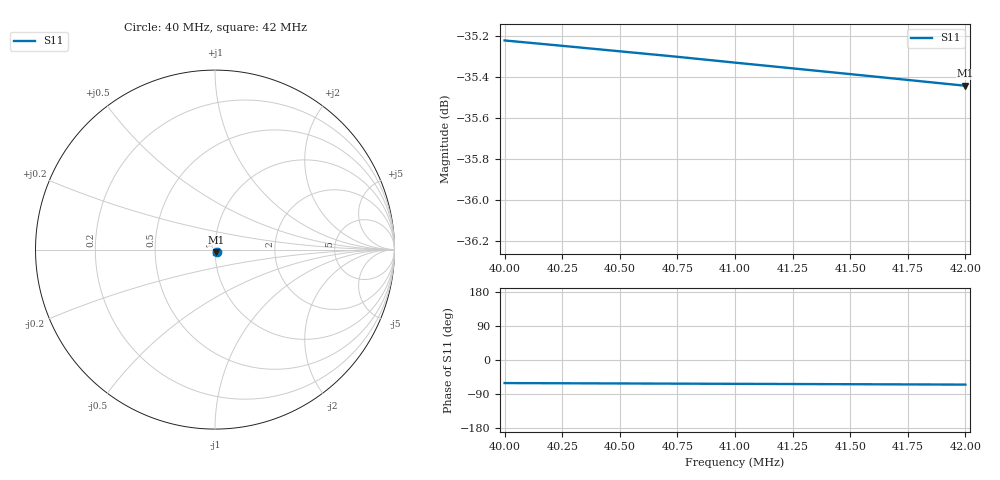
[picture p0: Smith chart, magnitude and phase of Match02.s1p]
# Hz S RI R 50
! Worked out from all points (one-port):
!   9 points, 40 MHz to 42 MHz, reference 50 ohm
!   lowest |S11| = -35.4 dB at 42 MHz (marker M1), VSWR 1.03, Z = 50.7 - j1.55 ohm
!   |S11| at or under -10 dB: start of sweep to end of sweep
4e7  0.00843 -0.0151
4.025e7  0.00828 -0.0152
4.05e7  0.00812 -0.0152
4.075e7  0.00796 -0.0152
4.1e7  0.0078 -0.0152
4.125e7  0.00764 -0.0153
4.15e7  0.00748 -0.0153
4.175e7  0.00732 -0.0153
4.2e7  0.00716 -0.0153
